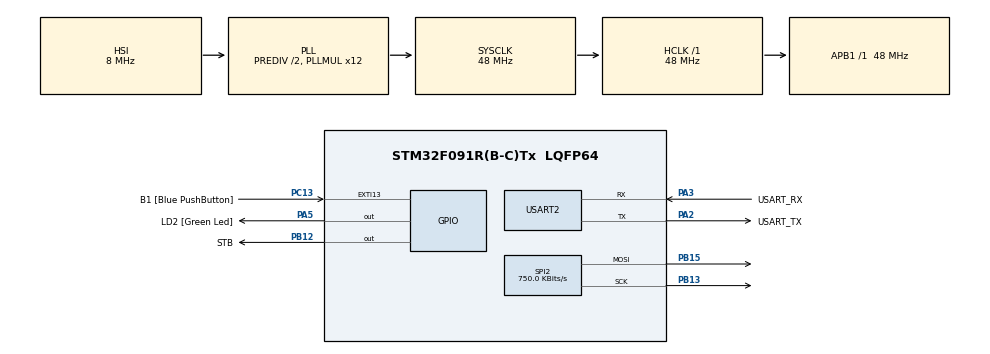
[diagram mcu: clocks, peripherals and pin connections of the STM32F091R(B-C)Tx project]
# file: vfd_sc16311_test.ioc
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Mcu.Family=STM32F0
Mcu.Name=STM32F091R(B-C)Tx
Mcu.Package=LQFP64
NVIC.TIM14_IRQn=true\:0\:0\:false\:false\:true\:true\:true\:true
PA13.GPIO_Label=TMS
PA13.Mode=Serial_Wire
PA13.Signal=SYS_SWDIO
PA14.GPIO_Label=TCK
PA14.Mode=Serial_Wire
PA14.Signal=SYS_SWCLK
PA2.GPIO_Label=USART_TX
PA2.GPIO_Mode=GPIO_MODE_AF_PP
PA2.GPIO_PuPd=GPIO_NOPULL
PA2.GPIO_Speed=GPIO_SPEED_FREQ_LOW
PA2.Mode=Asynchronous
PA2.Signal=USART2_TX
PA3.GPIO_Label=USART_RX
PA3.GPIO_Mode=GPIO_MODE_AF_PP
PA3.GPIO_PuPd=GPIO_NOPULL
PA3.GPIO_Speed=GPIO_SPEED_FREQ_LOW
PA3.Mode=Asynchronous
PA3.Signal=USART2_RX
PA5.GPIO_Label=LD2 [Green Led]
PA5.GPIO_Mode=GPIO_MODE_OUTPUT_PP
PA5.GPIO_PuPd=GPIO_NOPULL
PA5.GPIO_Speed=GPIO_SPEED_FREQ_LOW
PA5.Signal=GPIO_Output
PB12.GPIO_Label=STB
PB12.GPIO_Speed=GPIO_SPEED_FREQ_HIGH
PB12.PinState=GPIO_PIN_SET
PB12.Signal=GPIO_Output
PB13.Mode=TX_Only_Simplex_Unidirect_Master
PB13.Signal=SPI2_SCK
PB15.Mode=TX_Only_Simplex_Unidirect_Master
PB15.Signal=SPI2_MOSI
PC13.GPIO_Label=B1 [Blue PushButton]
PC13.GPIO_ModeDefaultEXTI=GPIO_MODE_IT_FALLING
PC13.Signal=GPXTI13
PC14OSC32_IN.Mode=LSE-External-Oscillator
PC14OSC32_IN.Signal=RCC_OSC32_IN
PC15OSC32_OUT.Mode=LSE-External-Oscillator
PC15OSC32_OUT.Signal=RCC_OSC32_OUT
PF0-OSC_IN.Mode=HSE-External-Clock-Source
PF0-OSC_IN.Signal=RCC_OSC_IN
PF1-OSC_OUT.Signal=RCC_OSC_OUT
ProjectManager.HeapSize=0x200
ProjectManager.StackSize=0x400
ProjectManager.TargetToolchain=STM32CubeIDE
RCC.AHBFreq_Value=48000000
RCC.APB1Freq_Value=48000000
RCC.APB1TimFreq_Value=48000000
RCC.FLatency-AdvancedSettings=FLASH_LATENCY_1
RCC.HCLKFreq_Value=48000000
RCC.PLLDivider=RCC_PREDIV_DIV2
RCC.PLLMUL=RCC_PLL_MUL12
RCC.PREFETCH_ENABLE-AdvancedSettings=1
RCC.SYSCLKFreq_VALUE=48000000
RCC.SYSCLKSource=RCC_SYSCLKSOURCE_PLLCLK
SPI2.BaudRatePrescaler=SPI_BAUDRATEPRESCALER_64
SPI2.CLKPhase=SPI_PHASE_2EDGE
SPI2.CLKPolarity=SPI_POLARITY_HIGH
SPI2.CalculateBaudRate=750.0 KBits/s
SPI2.DataSize=SPI_DATASIZE_8BIT
SPI2.Direction=SPI_DIRECTION_2LINES
SPI2.FirstBit=SPI_FIRSTBIT_LSB
SPI2.Mode=SPI_MODE_MASTER
SPI2.VirtualType=VM_MASTER
TIM14.AutoReloadPreload=TIM_AUTORELOAD_PRELOAD_ENABLE
TIM14.Period=53333-1
TIM14.Prescaler=450-1
USART2.VirtualMode=VM_ASYNC
USART2.VirtualMode-Asynchronous=VM_ASYNC
VP_TIM14_VS_ClockSourceINT.Mode=Enable_Timer
board=NUCLEO-F091RC

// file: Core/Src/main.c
/* USER CODE BEGIN Header */
/**
  ******************************************************************************
  * @file           : main.c
  * @brief          : Main program body
  ******************************************************************************
  * @attention
  *
  * Copyright (c) 2024 STMicroelectronics.
  * All rights reserved.
  *
  * This software is licensed under terms that can be found in the LICENSE file
  * in the root directory of this software component.
  * If no LICENSE file comes with this software, it is provided AS-IS.
  *
  ******************************************************************************
  */
/* USER CODE END Header */
#include "main.h"

/* USER CODE BEGIN Includes */
#include <string.h>

#include "sc16311.h"
#include "display_wiring.h"
#include "vfd_display.h"
/* USER CODE END Includes */

/* USER CODE BEGIN PM */
#define SYSTICK_LOAD (SystemCoreClock/1000000U)
#define SYSTICK_DELAY_CALIB (SYSTICK_LOAD >> 1)

#define DELAY_US(us) \
    do { \
         uint32_t start = SysTick->VAL; \
         uint32_t ticks = (us * SYSTICK_LOAD)-SYSTICK_DELAY_CALIB;  \
         while((start - SysTick->VAL) < ticks); \
    } while (0)
/* USER CODE END PM */

SPI_HandleTypeDef hspi2;

TIM_HandleTypeDef htim14;

UART_HandleTypeDef huart2;

/* USER CODE BEGIN PV */
static uint8_t display_buffer[22];
/* USER CODE END PV */

void SystemClock_Config(void);
static void MX_GPIO_Init(void);
static void MX_USART2_UART_Init(void);
static void MX_SPI2_Init(void);
static void MX_TIM14_Init(void);

/* USER CODE BEGIN 0 */
void vfd_serial_prepare_write()
{
  DELAY_US(1);
  HAL_GPIO_WritePin(STB_GPIO_Port, STB_Pin, GPIO_PIN_RESET);
}

void vfd_serial_end_write()
{
  HAL_GPIO_WritePin(STB_GPIO_Port, STB_Pin, GPIO_PIN_SET);
  DELAY_US(1);
}

void vfd_serial_write_byte(uint8_t byte)
{
  HAL_SPI_Transmit(&hspi2, &byte, 1, 2);
}

static void SC16311_Init()
{
  sc16311_write_cmd(SC16311_CMD_DATA_SETTING |
		    SC16311_DATA_NORMAL_MODE |
		    SC16311_DATA_INC_ADDR |
		    SC16311_DATA_WRITE_MEM);
//  memset(display_buffer, 0xFF, sizeof(display_buffer));	// t4
  sc16311_write_data(0x00, display_buffer, sizeof(display_buffer));
  sc16311_write_cmd(SC16311_CMD_DISPLAY_MODE | 0x04);
//		    SC16311_DISPLAY_MODE_13DIG_15SEG);
  sc16311_write_cmd(SC16311_CMD_DISPLAY_CONTROL |
		    SC16311_DISPLAY_ON | SC16311_DISPLAY_PW_14_16);
}
/* USER CODE END 0 */

int main(void)
{

  /* MCU Configuration--------------------------------------------------------*/

  /* Reset of all peripherals, Initializes the Flash interface and the Systick. */
  HAL_Init();

  /* Configure the system clock */
  SystemClock_Config();

  /* USER CODE BEGIN SysInit */
  HAL_Delay(200);
  /* USER CODE END SysInit */

  /* Initialize all configured peripherals */
  MX_GPIO_Init();
  MX_USART2_UART_Init();
  MX_SPI2_Init();
  MX_TIM14_Init();
  /* USER CODE BEGIN 2 */
  HAL_TIM_Base_Start_IT(&htim14);
  SC16311_Init();
  /* USER CODE END 2 */

  /* Infinite loop */
  /* USER CODE BEGIN WHILE */
  while (1)
  {
    // t3
    for (int g = 0; g < 8; g++) {
	for (int s = 0; s < 14; s++) {
	    memset(display_buffer, 0, sizeof(display_buffer));
	    sc16311_enable_segment(display_buffer, g+1, s+1);
	    sc16311_write_data(0x00, display_buffer, sizeof(display_buffer));
	    HAL_Delay(250);
	}
    }
    /* USER CODE END WHILE */

  }
}

void SystemClock_Config(void)
{
  RCC_OscInitTypeDef RCC_OscInitStruct = {0};
  RCC_ClkInitTypeDef RCC_ClkInitStruct = {0};
  RCC_PeriphCLKInitTypeDef PeriphClkInit = {0};

  /** Initializes the RCC Oscillators according to the specified parameters
  * in the RCC_OscInitTypeDef structure.
  */
  RCC_OscInitStruct.OscillatorType = RCC_OSCILLATORTYPE_HSI;
  RCC_OscInitStruct.HSIState = RCC_HSI_ON;
  RCC_OscInitStruct.HSICalibrationValue = RCC_HSICALIBRATION_DEFAULT;
  RCC_OscInitStruct.PLL.PLLState = RCC_PLL_ON;
  RCC_OscInitStruct.PLL.PLLSource = RCC_PLLSOURCE_HSI;
  RCC_OscInitStruct.PLL.PLLMUL = RCC_PLL_MUL12;
  RCC_OscInitStruct.PLL.PREDIV = RCC_PREDIV_DIV2;
  if (HAL_RCC_OscConfig(&RCC_OscInitStruct) != HAL_OK)
  {
    Error_Handler();
  }

  /** Initializes the CPU, AHB and APB buses clocks
  */
  RCC_ClkInitStruct.ClockType = RCC_CLOCKTYPE_HCLK|RCC_CLOCKTYPE_SYSCLK
                              |RCC_CLOCKTYPE_PCLK1;
  RCC_ClkInitStruct.SYSCLKSource = RCC_SYSCLKSOURCE_PLLCLK;
  RCC_ClkInitStruct.AHBCLKDivider = RCC_SYSCLK_DIV1;
  RCC_ClkInitStruct.APB1CLKDivider = RCC_HCLK_DIV1;

  if (HAL_RCC_ClockConfig(&RCC_ClkInitStruct, FLASH_LATENCY_1) != HAL_OK)
  {
    Error_Handler();
  }
  PeriphClkInit.PeriphClockSelection = RCC_PERIPHCLK_USART2;
  PeriphClkInit.Usart2ClockSelection = RCC_USART2CLKSOURCE_PCLK1;
  if (HAL_RCCEx_PeriphCLKConfig(&PeriphClkInit) != HAL_OK)
  {
    Error_Handler();
  }
}

static void MX_SPI2_Init(void)
{

  /* SPI2 parameter configuration*/
  hspi2.Instance = SPI2;
  hspi2.Init.Mode = SPI_MODE_MASTER;
  hspi2.Init.Direction = SPI_DIRECTION_2LINES;
  hspi2.Init.DataSize = SPI_DATASIZE_8BIT;
  hspi2.Init.CLKPolarity = SPI_POLARITY_HIGH;
  hspi2.Init.CLKPhase = SPI_PHASE_2EDGE;
  hspi2.Init.NSS = SPI_NSS_SOFT;
  hspi2.Init.BaudRatePrescaler = SPI_BAUDRATEPRESCALER_64;
  hspi2.Init.FirstBit = SPI_FIRSTBIT_LSB;
  hspi2.Init.TIMode = SPI_TIMODE_DISABLE;
  hspi2.Init.CRCCalculation = SPI_CRCCALCULATION_DISABLE;
  hspi2.Init.CRCPolynomial = 7;
  hspi2.Init.CRCLength = SPI_CRC_LENGTH_DATASIZE;
  hspi2.Init.NSSPMode = SPI_NSS_PULSE_DISABLE;
  if (HAL_SPI_Init(&hspi2) != HAL_OK)
  {
    Error_Handler();
  }

}

static void MX_TIM14_Init(void)
{

  htim14.Instance = TIM14;
  htim14.Init.Prescaler = 450-1;
  htim14.Init.CounterMode = TIM_COUNTERMODE_UP;
  htim14.Init.Period = 53333-1;
  htim14.Init.ClockDivision = TIM_CLOCKDIVISION_DIV1;
  htim14.Init.AutoReloadPreload = TIM_AUTORELOAD_PRELOAD_ENABLE;
  if (HAL_TIM_Base_Init(&htim14) != HAL_OK)
  {
    Error_Handler();
  }

}

static void MX_USART2_UART_Init(void)
{

  huart2.Instance = USART2;
  huart2.Init.BaudRate = 115200;
  huart2.Init.WordLength = UART_WORDLENGTH_8B;
  huart2.Init.StopBits = UART_STOPBITS_1;
  huart2.Init.Parity = UART_PARITY_NONE;
  huart2.Init.Mode = UART_MODE_TX_RX;
  huart2.Init.HwFlowCtl = UART_HWCONTROL_NONE;
  huart2.Init.OverSampling = UART_OVERSAMPLING_16;
  huart2.Init.OneBitSampling = UART_ONE_BIT_SAMPLE_DISABLE;
  huart2.AdvancedInit.AdvFeatureInit = UART_ADVFEATURE_NO_INIT;
  if (HAL_UART_Init(&huart2) != HAL_OK)
  {
    Error_Handler();
  }

}

static void MX_GPIO_Init(void)
{
  GPIO_InitTypeDef GPIO_InitStruct = {0};

  /* GPIO Ports Clock Enable */
  __HAL_RCC_GPIOC_CLK_ENABLE();
  __HAL_RCC_GPIOF_CLK_ENABLE();
  __HAL_RCC_GPIOA_CLK_ENABLE();
  __HAL_RCC_GPIOB_CLK_ENABLE();

  /*Configure GPIO pin Output Level */
  HAL_GPIO_WritePin(LD2_GPIO_Port, LD2_Pin, GPIO_PIN_RESET);

  /*Configure GPIO pin Output Level */
  HAL_GPIO_WritePin(STB_GPIO_Port, STB_Pin, GPIO_PIN_SET);

  /*Configure GPIO pin : B1_Pin */
  GPIO_InitStruct.Pin = B1_Pin;
  GPIO_InitStruct.Mode = GPIO_MODE_IT_FALLING;
  GPIO_InitStruct.Pull = GPIO_NOPULL;
  HAL_GPIO_Init(B1_GPIO_Port, &GPIO_InitStruct);

  /*Configure GPIO pin : LD2_Pin */
  GPIO_InitStruct.Pin = LD2_Pin;
  GPIO_InitStruct.Mode = GPIO_MODE_OUTPUT_PP;
  GPIO_InitStruct.Pull = GPIO_NOPULL;
  GPIO_InitStruct.Speed = GPIO_SPEED_FREQ_LOW;
  HAL_GPIO_Init(LD2_GPIO_Port, &GPIO_InitStruct);

  /*Configure GPIO pin : STB_Pin */
  GPIO_InitStruct.Pin = STB_Pin;
  GPIO_InitStruct.Mode = GPIO_MODE_OUTPUT_PP;
  GPIO_InitStruct.Pull = GPIO_NOPULL;
  GPIO_InitStruct.Speed = GPIO_SPEED_FREQ_HIGH;
  HAL_GPIO_Init(STB_GPIO_Port, &GPIO_InitStruct);

}

/* USER CODE BEGIN 4 */
void HAL_TIM_PeriodElapsedCallback(TIM_HandleTypeDef *htim)
{
  HAL_GPIO_TogglePin(LD2_GPIO_Port, LD2_Pin);
}
/* USER CODE END 4 */

void Error_Handler(void)
{
  __disable_irq();
  while (1)
  {
  }
}
